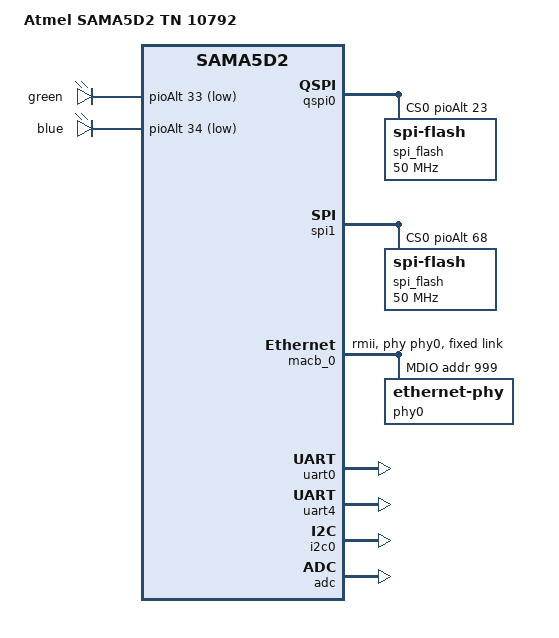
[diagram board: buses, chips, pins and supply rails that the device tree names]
/dts-v1/;
#include "sama5d2.dtsi"
#include "sama5d2-pinfunc.h"
#include <dt-bindings/gpio/gpio.h>

/ {
    model = "Atmel SAMA5D2 TN 10792";
    compatible = "atmel,sama5d2", "atmel,sama5";

    aliases {
        serial0 = &uart0;   /* Debug */
        serial1 = &uart4;   /* User CLI */
        spi1 = &spi1;       /* 32MB SPI-NOR */
            spi3 = &qspi0;      /* Redirect for u-boot 'sf probe' - 256MB SPI-NAND */
            qspi0 = &qspi0;     /* 256MB SPI-NAND */

            tcb0 = &tcb0;
        tcb1 = &tcb1;
    };

    chosen {
        stdout-path = "serial0:115200n8";
        u-boot,dm-pre-reloc;
    };

    clocks {
        slow_xtal {
            clock-frequency = <32768>;
        };

        main_xtal {
            clock-frequency = <12000000>;
        };
    };

    leds {
        compatible = "gpio-leds";
        pinctrl-names = "default";
        pinctrl-0 = <&pinctrl_led_gpio_default>;
        status = "okay";

        green {
            label = "green";
            gpios = <&pioAlt 33 GPIO_ACTIVE_LOW>;
        };

        blue {
            label = "blue";
            gpios = <&pioAlt 34 GPIO_ACTIVE_LOW>;
            linux,default-trigger = "heartbeat";
        };
    };

    ahb {
        apb {
            u-boot,dm-pre-reloc;

                pmc: pmc@f0014000 {
                    u-boot,dm-pre-reloc;

                    main: mainck {
                    u-boot,dm-pre-reloc;
                };

                plla: pllack {
                    u-boot,dm-pre-reloc;
                };

                utmi: utmick {
                    u-boot,dm-pre-reloc;
                };

                mck: masterck {
                    u-boot,dm-pre-reloc;
                };

                h32ck: h32mxck {
                    u-boot,dm-pre-reloc;
                };

                periph32ck {
                    u-boot,dm-pre-reloc;

                    macb0_clk: macb0_clk {
                        u-boot,dm-pre-reloc;
                    };

                    pioAlt_clk: pioAlt_clk {
                        u-boot,dm-pre-reloc;
                    };

                    uart0_clk: uart0_clk {
                        u-boot,dm-pre-reloc;
                    };

                    spi1_clk: spi1_clk {
                        u-boot,dm-pre-reloc;
                    };
                };

                periph64ck {
                    u-boot,dm-pre-reloc;

                    qspi0_clk: qspi0_clk {
                        u-boot,dm-pre-reloc;
                    };
                };

                gck {
                    u-boot,dm-pre-reloc;
                };

                pmc_fast_restart {
                    compatible = "atmel,sama5d2-pmc-fast-startup";
                    #address-cells = <1>;
                    #size-cells = <0>;

                    atmel,wakeup-rtc-timer;

                    wkpin: input@0 {
                        reg = <0>;
                    };

                    gmac_wol: input {
                        reg = <10>;
                        atmel,wakeup-active-high;
                    };
                };
            };

            qspi0: spi@f0020000 {
                cs-gpios = <&pioAlt 23 0>, <0>, <0>, <0>;
                pinctrl-names = "default";
                /* Kernel way*/
                pinctrl-0 = <&pinctrl_qspi0_default>;
                /* U-boot way*/
                pinctrl-0 = <&pinctrl_qspi0_sck_cs_default &pinctrl_qspi0_dat_default>;
                status = "okay";
                u-boot,dm-pre-reloc;

                spi_flash@0 {
                    compatible = "spi-flash";
                    reg = <0>;
                    spi-max-frequency = <50000000>;
                    spi-rx-bus-width = <4>;
                    spi-tx-bus-width = <4>;
                    u-boot,dm-pre-reloc;
                };
            };

            spi1: spi@fc000000 {
                cs-gpios = <&pioAlt 68 0>, <0>, <0>, <0>;
                pinctrl-names = "default";
                pinctrl-0 = <&pinctrl_spi1_default>;
                status = "okay";
                u-boot,dm-pre-reloc;

                spi_flash@0 {
                    compatible = "spi-flash";
                    reg = <0>;
                    spi-max-frequency = <50000000>;
                    u-boot,dm-pre-reloc;
                };
            };

            macb_0: ethernet@f8008000 {
                pinctrl-names = "default";
                pinctrl-0 = <&pinctrl_macb0_rmii>;
                phy-mode = "rmii";
                phy = <&phy0>;
                status = "okay";
                u-boot,dm-pre-reloc;

                fixed-link {
                        speed = <100>;
                        full-duplex;
                        u-boot,dm-pre-reloc;
                };

                mdio_0: mdio_bus {
                    u-boot,dm-pre-reloc;
                    #address-cells = <1>;
                    #size-cells = <0>;
                    reg = <16>;
                    phy0: ethernet-phy@0 {
                        reg = <999>;
                    };
                };
            };
            dsa@0 {
                compatible = "marvell,dsa";
                u-boot,dm-pre-reloc;

                #address-cells = <2>;
                #size-cells = <0>;

                dsa,ethernet = <&macb_0>;
                dsa,mii-bus = <&mdio_0>;

                switch@0 {
                    #address-cells = <1>;
                    #size-cells = <0>;
                    reg = <0 0>;
                    port@3 {
                        reg = <3>;
                        label = "lan0";
                    };
                    port@4 {
                        reg = <4>;
                        label = "lan1";
                     };
                     port@5 {
                        reg = <5>;
                        label = "lan2";
                     };
                     port@6 {
                        reg = <6>;
                        label = "cpu";
                     };
                };
            };

            uart0: serial@f801c000 {
                pinctrl-names = "default";
                pinctrl-0 = <&pinctrl_uart0_default>;
                atmel,use-dma-rx;
                atmel,use-dma-tx;
                status = "okay";
                u-boot,dm-pre-reloc;
            };

            uart4: serial@fc00c000 {
                pinctrl-names = "default";
                pinctrl-0 = <&pinctrl_uart4_default>;
                atmel,use-dma-rx;
                atmel,use-dma-tx;
                status = "okay";
            };

            shdwc@f8048010 {
                atmel,shdwc-debouncer = <976>;
                atmel,wakeup-rtc-timer;

                input@0 {
                    reg = <0>;
                    atmel,wakeup-type = "low";
                };
            };

            watchdog@f8048040 {
                status = "okay";
            };

            i2c0: i2c@f8028000 {
                dmas = <0>, <0>;
                pinctrl-names = "default";
                pinctrl-0 = <&pinctrl_i2c0_default>;
                status = "okay";
            };

            adc: adc@fc030000 {
                dmas = <0>;
                pinctrl-names = "default";
                pinctrl-0 = <&pinctrl_adcdiff_default>;
                status = "okay";
            };

            pioAlt: gpio@fc038000 {
                u-boot,dm-pre-reloc;
                pinctrl {
                    u-boot,dm-pre-reloc;

                    pinctrl_auxenable_default: auxenable_default {
                        pinmux = <PIN_PA18__GPIO>;
                        bias-pull-down;
                    };

                    /* PA19-20 un-used */

                    pinctrl_lastgasp_irq: lastgasp_irq {
                        pinmux = <PIN_PA21__GPIO>;
                        bias-pull-up;
                    };

                    pinctrl_qspi0_default: qspi0_default {
                        sck_cs {
                            pinmux = <PIN_PA22__QSPI0_SCK>,
                                 <PIN_PA23__QSPI0_CS>;
                            bias-disable;
                            u-boot,dm-pre-reloc;
                        };

                        data {
                            pinmux = <PIN_PA24__QSPI0_IO0>,
                                 <PIN_PA25__QSPI0_IO1>,
                                 <PIN_PA26__QSPI0_IO2>,
                                 <PIN_PA27__QSPI0_IO3>;
                            bias-pull-up;
                            u-boot,dm-pre-reloc;
                        };
                    };

                    pinctrl_qspi0_sck_cs_default: qspi0_sck_cs_default {
                        pinmux = <PIN_PA22__QSPI0_SCK>,
                             <PIN_PA23__QSPI0_CS>;
                        bias-disable;
                        u-boot,dm-pre-reloc;
                    };

                    pinctrl_qspi0_dat_default: qspi0_dat_default {
                        pinmux = <PIN_PA24__QSPI0_IO0>,
                             <PIN_PA25__QSPI0_IO1>,
                             <PIN_PA26__QSPI0_IO2>,
                             <PIN_PA27__QSPI0_IO3>;
                        bias-pull-up;
                        u-boot,dm-pre-reloc;
                    };

                    /* PA28-31 un-used */

                    pinctrl_3v3loaddisable_default: 3v3loaddisable_default {
                        pinmux = <PIN_PB0__GPIO>;
                        bias-pull-down;
                    };

                    pinctrl_led_gpio_default: led_gpio_default {
                        pinmux = <PIN_PB1__GPIO>,
                             <PIN_PB2__GPIO>;
                        bias-pull-up;
                    };

                    pinctrl_uart4_default: uart4_default {
                        pinmux = <PIN_PB3__URXD4>,
                             <PIN_PB4__UTXD4>;
                        bias-disable;
                    };

                    pinctrl_adcdiff_default: adcdiff_default {
                        pinmux = <PIN_PB5__PWMH2>,
                            <PIN_PB6__PWML2>;
                        bias-disable;
                    };

                    pinctrl_psemode_default: psemode_default {
                        pinmux = <PIN_PB7__GPIO>,
                            <PIN_PB8__GPIO>;
                        bias-disable;
                    };

                    pinctrl_pse1_irq: pse1_irq {
                        pinmux = <PIN_PB9__GPIO>;
                        bias-pull-up;
                    };

                    pinctrl_pse2_irq: pse2_irq {
                        pinmux = <PIN_PB10__GPIO>;
                        bias-pull-up;
                    };

                    pinctrl_pse1nreset_default: pse1nreset_default {
                        pinmux = <PIN_PB11__GPIO>;
                        bias-pull-down;
                    };

                    pinctrl_pse2nreset_default: pse2nreset_default {
                        pinmux = <PIN_PB12__GPIO>;
                        bias-pull-down;
                    };

                    pinctrl_tempsensor_irq: tempsensor_irq {
                        pinmux = <PIN_PB13__GPIO>;
                        bias-pull-up;
                    };

                    pinctrl_macb0_rmii: macb0_rmii {
                        pinmux = <PIN_PB14__GTXCK>,
                             <PIN_PB15__GTXEN>,
                             <PIN_PB16__GRXDV>,
                             <PIN_PB17__GRXER>,
                             <PIN_PB18__GRX0>,
                             <PIN_PB19__GRX1>,
                             <PIN_PB20__GTX0>,
                             <PIN_PB21__GTX1>,
                             <PIN_PB22__GMDC>,
                             <PIN_PB23__GMDIO>;
                        bias-disable;
                        u-boot,dm-pre-reloc;
                    };

                    pinctrl_switch_irq: switch_irq {
                        pinmux = <PIN_PB24__GPIO>;
                        bias-pull-up;
                    };

                    pinctrl_flowcontrol_default: flowcontrol_default {
                        pinmux = <PIN_PB25__GPIO>;
                        bias-disable;
                    };

                    pinctrl_uart0_default: uart0_default {
                        pinmux = <PIN_PB26__URXD0>,
                             <PIN_PB27__UTXD0>;
                        bias-disable;
                        u-boot,dm-pre-reloc;
                    };

                    pinctrl_eee_default: eee_default {
                        pinmux = <PIN_PB28__GPIO>;
                        bias-disable;
                    };

                    pinctrl_switchnreset_default: switchnreset_default {
                        pinmux = <PIN_PB29__GPIO>;
                        bias-pull-down;
                        u-boot,dm-pre-reloc;
                    };

                    pinctrl_nfcnreset_default: nfcnreset_default {
                        pinmux = <PIN_PB30__GPIO>;
                        bias-pull-down;
                    };

                    pinctrl_i2c0_default: i2c0_default {
                        pinmux = <PIN_PB31__TWD0>,
                             <PIN_PC0__TWCK0>;
                        bias-disable;
                    };

                    pinctrl_spi1_default: spi1_default {
                        pinmux = <PIN_PC1__SPI1_SPCK>,
                             <PIN_PC2__SPI1_MOSI>,
                             <PIN_PC3__SPI1_MISO>,
                             <PIN_PC4__SPI1_NPCS0>,
                             <PIN_PC5__SPI1_NPCS1>,
                             <PIN_PC6__SPI1_NPCS2>;
                        bias-disable;
                        u-boot,dm-pre-reloc;
                    };

                    /* PC7 un-used */

                    pinctrl_nfc_irq: nfc_irq {
                        pinmux = <PIN_PC8__GPIO>;
                        bias-pull-up;
                    };
                };
            };
        };
    };
};
